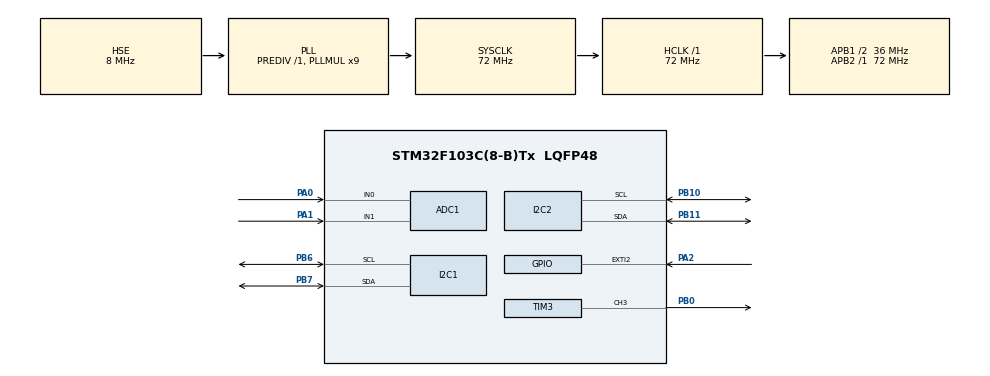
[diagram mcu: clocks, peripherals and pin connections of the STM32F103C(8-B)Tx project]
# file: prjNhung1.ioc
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ADC1.Channel-0\#ChannelRegularConversion=ADC_CHANNEL_0
ADC1.NbrOfConversionFlag=1
ADC1.Rank-0\#ChannelRegularConversion=1
ADC1.SamplingTime-0\#ChannelRegularConversion=ADC_SAMPLETIME_239CYCLES_5
ADC1.master=1
IWDG.Prescaler=IWDG_PRESCALER_64
Mcu.Family=STM32F1
Mcu.Name=STM32F103C(8-B)Tx
Mcu.Package=LQFP48
NVIC.EXTI2_IRQn=true\:0\:0\:false\:false\:true\:true\:true
NVIC.PriorityGroup=NVIC_PRIORITYGROUP_4
PA0-WKUP.Signal=ADCx_IN0
PA1.Signal=ADCx_IN1
PA13.Mode=Serial_Wire
PA13.Signal=SYS_JTMS-SWDIO
PA14.Mode=Serial_Wire
PA14.Signal=SYS_JTCK-SWCLK
PA2.GPIO_PuPd=GPIO_PULLDOWN
PA2.Signal=GPXTI2
PB0.Signal=S_TIM3_CH3
PB10.Mode=I2C
PB10.Signal=I2C2_SCL
PB11.Mode=I2C
PB11.Signal=I2C2_SDA
PB6.Mode=I2C
PB6.Signal=I2C1_SCL
PB7.Mode=I2C
PB7.Signal=I2C1_SDA
PD0-OSC_IN.Mode=HSE-External-Oscillator
PD0-OSC_IN.Signal=RCC_OSC_IN
PD1-OSC_OUT.Mode=HSE-External-Oscillator
PD1-OSC_OUT.Signal=RCC_OSC_OUT
ProjectManager.HeapSize=0x200
ProjectManager.StackSize=0x400
ProjectManager.TargetToolchain=MDK-ARM V5.27
RCC.ADCPresc=RCC_ADCPCLK2_DIV6
RCC.AHBFreq_Value=72000000
RCC.APB1CLKDivider=RCC_HCLK_DIV2
RCC.APB1Freq_Value=36000000
RCC.APB1TimFreq_Value=72000000
RCC.APB2Freq_Value=72000000
RCC.APB2TimFreq_Value=72000000
RCC.HCLKFreq_Value=72000000
RCC.PLLMUL=RCC_PLL_MUL9
RCC.PLLSourceVirtual=RCC_PLLSOURCE_HSE
RCC.SYSCLKFreq_VALUE=72000000
RCC.SYSCLKSource=RCC_SYSCLKSOURCE_PLLCLK
RCC.USBFreq_Value=72000000
SH.ADCx_IN0.0=ADC1_IN0,IN0
SH.ADCx_IN1.0=ADC1_IN1,IN1
SH.S_TIM3_CH3.0=TIM3_CH3,PWM Generation3 CH3
TIM3.Channel-PWM\ Generation3\ CH3=TIM_CHANNEL_3
TIM3.Period=999
TIM3.Prescaler=35
VP_IWDG_VS_IWDG.Mode=IWDG_Activate
VP_TIM3_VS_ClockSourceINT.Mode=Internal
board=custom

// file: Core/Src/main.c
/* USER CODE BEGIN Header */
/**
  ******************************************************************************
  * @file           : main.c
  * @brief          : Main program body
  ******************************************************************************
  * @attention
  *
  * <h2><center>&copy; Copyright (c) 2023 STMicroelectronics.
  * All rights reserved.</center></h2>
  *
  * This software component is licensed by ST under BSD 3-Clause license,
  * the "License"; You may not use this file except in compliance with the
  * License. You may obtain a copy of the License at:
  *                        opensource.org/licenses/BSD-3-Clause
  *
  ******************************************************************************
  */
/* USER CODE END Header */
#include "main.h"

/* USER CODE BEGIN Includes */
#include "i2c-lcd.h"
#include "RTC.h"
/* USER CODE END Includes */

ADC_HandleTypeDef hadc1;

I2C_HandleTypeDef hi2c1;
I2C_HandleTypeDef hi2c2;

IWDG_HandleTypeDef hiwdg;

TIM_HandleTypeDef htim3;

void SystemClock_Config(void);
static void MX_GPIO_Init(void);
static void MX_ADC1_Init(void);
static void MX_I2C1_Init(void);
static void MX_I2C2_Init(void);
static void MX_TIM3_Init(void);
static void MX_IWDG_Init(void);

/* USER CODE BEGIN 0 */
RTC_Typedef hrtc1;
//
uint16_t adc_value;
uint16_t adc_value1;
float Temp;
char Temper[16];
char buff[16] ;
char Gas[16];
int sprintf(char *str, const char *format, ...);

// Ngat Canh Bao
void HAL_GPIO_EXTI_Callback(uint16_t GPIO_Pin)
{
 if (GPIO_Pin == GPIO_PIN_2)
 {
  if( __HAL_TIM_SetCompare(&htim3,TIM_CHANNEL_3,1000) == 0)
     { __HAL_TIM_SetCompare(&htim3,TIM_CHANNEL_3,1000);
		 }
	else if (	 __HAL_TIM_SetCompare(&htim3,TIM_CHANNEL_3,1000) == 1)
		{  __HAL_TIM_SetCompare(&htim3,TIM_CHANNEL_3,0);
		}
 }
 HAL_Delay(50);
}

// ADC
uint16_t get_adc_channel(uint32_t channel)
{
	uint16_t adc;
	//chon kênh
	ADC_ChannelConfTypeDef sConfig = {0};
	sConfig.Channel = channel;
  sConfig.Rank = ADC_REGULAR_RANK_1;
  sConfig.SamplingTime = ADC_SAMPLETIME_239CYCLES_5;
  if (HAL_ADC_ConfigChannel(&hadc1, &sConfig) != HAL_OK)
  {
    Error_Handler();
  }
	//doc ADC
	HAL_ADC_Start(&hadc1);
	HAL_ADC_PollForConversion(&hadc1,1);//cho cho no chuyen
	adc = HAL_ADC_GetValue(&hadc1);
	HAL_ADC_Stop(&hadc1);
	return adc; }

/* USER CODE END 0 */

int main(void)
{
  /* USER CODE BEGIN 1 */
	RTC_Init(&hrtc1,&hi2c2);

  /* USER CODE END 1 */

  /* MCU Configuration--------------------------------------------------------*/

  /* Reset of all peripherals, Initializes the Flash interface and the Systick. */
  HAL_Init();

  /* Configure the system clock */
  SystemClock_Config();

  /* Initialize all configured peripherals */
  MX_GPIO_Init();
  MX_ADC1_Init();
  MX_I2C1_Init();
  MX_I2C2_Init();
  MX_TIM3_Init();
  MX_IWDG_Init();
  /* USER CODE BEGIN 2 */
  HAL_ADCEx_Calibration_Start(&hadc1);
	lcd_init();
	HAL_TIM_PWM_Start(&htim3,TIM_CHANNEL_3);
  /* USER CODE END 2 */

  /* Infinite loop */
  while (1)
  {

    /* USER CODE BEGIN 3 */
  	// doc adc
		adc_value = 	get_adc_channel(ADC_CHANNEL_0);
		HAL_Delay(1000);
		adc_value1 = 	get_adc_channel(ADC_CHANNEL_1);
		HAL_Delay(100);
		HAL_IWDG_Refresh(&hiwdg);
		Temp = 100 * adc_value1 * 3.3 / 4095;

		//doc thoi gian
		RTC_ReadTime(&hrtc1,&hrtc1.date_time);
	  HAL_Delay(10);
    // hien thi thoi gian + nhiet do
		lcd_clear();
		lcd_put_cur(0,0);
		sprintf (Temper, "Temp:%.2f", Temp);
		lcd_send_string(Temper);

		lcd_put_cur(1,0);
		sprintf (buff, "Time:%d:%d:%d", hrtc1.date_time.hour,
								hrtc1.date_time.min, hrtc1.date_time.second);
		lcd_send_string(buff);

		// Hien thi muc Gas
    if(adc_value > 2400)
    { lcd_put_cur(0,10);
			lcd_send_string("Gas:1");
		}
		else { lcd_put_cur(0,10);
			lcd_send_string("Gas:0");
		}
		// Canh bao
		if(adc_value > 2400)
			{
			    __HAL_TIM_SetCompare(&htim3,TIM_CHANNEL_3,1000);
			}
		else if (Temp >= 40)
			{  for(int i = 0 ; i < 100 ; i = i + 10)
  {
    __HAL_TIM_SetCompare(&htim3,TIM_CHANNEL_3,i);
    HAL_Delay(100);
   }
			}
		else
			{
				__HAL_TIM_SetCompare(&htim3,TIM_CHANNEL_3,0);
		  }

  }
  /* USER CODE END 3 */
}

void SystemClock_Config(void)
{
  RCC_OscInitTypeDef RCC_OscInitStruct = {0};
  RCC_ClkInitTypeDef RCC_ClkInitStruct = {0};
  RCC_PeriphCLKInitTypeDef PeriphClkInit = {0};

  /** Initializes the RCC Oscillators according to the specified parameters
  * in the RCC_OscInitTypeDef structure.
  */
  RCC_OscInitStruct.OscillatorType = RCC_OSCILLATORTYPE_LSI|RCC_OSCILLATORTYPE_HSE;
  RCC_OscInitStruct.HSEState = RCC_HSE_ON;
  RCC_OscInitStruct.HSEPredivValue = RCC_HSE_PREDIV_DIV1;
  RCC_OscInitStruct.HSIState = RCC_HSI_ON;
  RCC_OscInitStruct.LSIState = RCC_LSI_ON;
  RCC_OscInitStruct.PLL.PLLState = RCC_PLL_ON;
  RCC_OscInitStruct.PLL.PLLSource = RCC_PLLSOURCE_HSE;
  RCC_OscInitStruct.PLL.PLLMUL = RCC_PLL_MUL9;
  if (HAL_RCC_OscConfig(&RCC_OscInitStruct) != HAL_OK)
  {
    Error_Handler();
  }
  /** Initializes the CPU, AHB and APB buses clocks
  */
  RCC_ClkInitStruct.ClockType = RCC_CLOCKTYPE_HCLK|RCC_CLOCKTYPE_SYSCLK
                              |RCC_CLOCKTYPE_PCLK1|RCC_CLOCKTYPE_PCLK2;
  RCC_ClkInitStruct.SYSCLKSource = RCC_SYSCLKSOURCE_PLLCLK;
  RCC_ClkInitStruct.AHBCLKDivider = RCC_SYSCLK_DIV1;
  RCC_ClkInitStruct.APB1CLKDivider = RCC_HCLK_DIV2;
  RCC_ClkInitStruct.APB2CLKDivider = RCC_HCLK_DIV1;

  if (HAL_RCC_ClockConfig(&RCC_ClkInitStruct, FLASH_LATENCY_2) != HAL_OK)
  {
    Error_Handler();
  }
  PeriphClkInit.PeriphClockSelection = RCC_PERIPHCLK_ADC;
  PeriphClkInit.AdcClockSelection = RCC_ADCPCLK2_DIV6;
  if (HAL_RCCEx_PeriphCLKConfig(&PeriphClkInit) != HAL_OK)
  {
    Error_Handler();
  }
}

static void MX_ADC1_Init(void)
{

  ADC_ChannelConfTypeDef sConfig = {0};

  /** Common config
  */
  hadc1.Instance = ADC1;
  hadc1.Init.ScanConvMode = ADC_SCAN_DISABLE;
  hadc1.Init.ContinuousConvMode = DISABLE;
  hadc1.Init.DiscontinuousConvMode = DISABLE;
  hadc1.Init.ExternalTrigConv = ADC_SOFTWARE_START;
  hadc1.Init.DataAlign = ADC_DATAALIGN_RIGHT;
  hadc1.Init.NbrOfConversion = 1;
  if (HAL_ADC_Init(&hadc1) != HAL_OK)
  {
    Error_Handler();
  }
  /** Configure Regular Channel
  */
  sConfig.Channel = ADC_CHANNEL_0;
  sConfig.Rank = ADC_REGULAR_RANK_1;
  sConfig.SamplingTime = ADC_SAMPLETIME_239CYCLES_5;
  if (HAL_ADC_ConfigChannel(&hadc1, &sConfig) != HAL_OK)
  {
    Error_Handler();
  }

}

static void MX_I2C1_Init(void)
{

  hi2c1.Instance = I2C1;
  hi2c1.Init.ClockSpeed = 100000;
  hi2c1.Init.DutyCycle = I2C_DUTYCYCLE_2;
  hi2c1.Init.OwnAddress1 = 0;
  hi2c1.Init.AddressingMode = I2C_ADDRESSINGMODE_7BIT;
  hi2c1.Init.DualAddressMode = I2C_DUALADDRESS_DISABLE;
  hi2c1.Init.OwnAddress2 = 0;
  hi2c1.Init.GeneralCallMode = I2C_GENERALCALL_DISABLE;
  hi2c1.Init.NoStretchMode = I2C_NOSTRETCH_DISABLE;
  if (HAL_I2C_Init(&hi2c1) != HAL_OK)
  {
    Error_Handler();
  }

}

static void MX_I2C2_Init(void)
{

  hi2c2.Instance = I2C2;
  hi2c2.Init.ClockSpeed = 100000;
  hi2c2.Init.DutyCycle = I2C_DUTYCYCLE_2;
  hi2c2.Init.OwnAddress1 = 0;
  hi2c2.Init.AddressingMode = I2C_ADDRESSINGMODE_7BIT;
  hi2c2.Init.DualAddressMode = I2C_DUALADDRESS_DISABLE;
  hi2c2.Init.OwnAddress2 = 0;
  hi2c2.Init.GeneralCallMode = I2C_GENERALCALL_DISABLE;
  hi2c2.Init.NoStretchMode = I2C_NOSTRETCH_DISABLE;
  if (HAL_I2C_Init(&hi2c2) != HAL_OK)
  {
    Error_Handler();
  }

}

static void MX_IWDG_Init(void)
{

  hiwdg.Instance = IWDG;
  hiwdg.Init.Prescaler = IWDG_PRESCALER_64;
  hiwdg.Init.Reload = 4095;
  if (HAL_IWDG_Init(&hiwdg) != HAL_OK)
  {
    Error_Handler();
  }

}

static void MX_TIM3_Init(void)
{

  TIM_ClockConfigTypeDef sClockSourceConfig = {0};
  TIM_MasterConfigTypeDef sMasterConfig = {0};
  TIM_OC_InitTypeDef sConfigOC = {0};

  htim3.Instance = TIM3;
  htim3.Init.Prescaler = 35;
  htim3.Init.CounterMode = TIM_COUNTERMODE_UP;
  htim3.Init.Period = 999;
  htim3.Init.ClockDivision = TIM_CLOCKDIVISION_DIV1;
  htim3.Init.AutoReloadPreload = TIM_AUTORELOAD_PRELOAD_DISABLE;
  if (HAL_TIM_Base_Init(&htim3) != HAL_OK)
  {
    Error_Handler();
  }
  sClockSourceConfig.ClockSource = TIM_CLOCKSOURCE_INTERNAL;
  if (HAL_TIM_ConfigClockSource(&htim3, &sClockSourceConfig) != HAL_OK)
  {
    Error_Handler();
  }
  if (HAL_TIM_PWM_Init(&htim3) != HAL_OK)
  {
    Error_Handler();
  }
  sMasterConfig.MasterOutputTrigger = TIM_TRGO_RESET;
  sMasterConfig.MasterSlaveMode = TIM_MASTERSLAVEMODE_DISABLE;
  if (HAL_TIMEx_MasterConfigSynchronization(&htim3, &sMasterConfig) != HAL_OK)
  {
    Error_Handler();
  }
  sConfigOC.OCMode = TIM_OCMODE_PWM1;
  sConfigOC.Pulse = 0;
  sConfigOC.OCPolarity = TIM_OCPOLARITY_HIGH;
  sConfigOC.OCFastMode = TIM_OCFAST_DISABLE;
  if (HAL_TIM_PWM_ConfigChannel(&htim3, &sConfigOC, TIM_CHANNEL_3) != HAL_OK)
  {
    Error_Handler();
  }
  HAL_TIM_MspPostInit(&htim3);

}

static void MX_GPIO_Init(void)
{
  GPIO_InitTypeDef GPIO_InitStruct = {0};

  /* GPIO Ports Clock Enable */
  __HAL_RCC_GPIOD_CLK_ENABLE();
  __HAL_RCC_GPIOA_CLK_ENABLE();
  __HAL_RCC_GPIOB_CLK_ENABLE();

  /*Configure GPIO pin : PA2 */
  GPIO_InitStruct.Pin = GPIO_PIN_2;
  GPIO_InitStruct.Mode = GPIO_MODE_IT_RISING;
  GPIO_InitStruct.Pull = GPIO_PULLDOWN;
  HAL_GPIO_Init(GPIOA, &GPIO_InitStruct);

  /* EXTI interrupt init*/
  HAL_NVIC_SetPriority(EXTI2_IRQn, 0, 0);
  HAL_NVIC_EnableIRQ(EXTI2_IRQn);

}

void Error_Handler(void)
{
}

/************************ (C) COPYRIGHT STMicroelectronics *****END OF FILE****/
